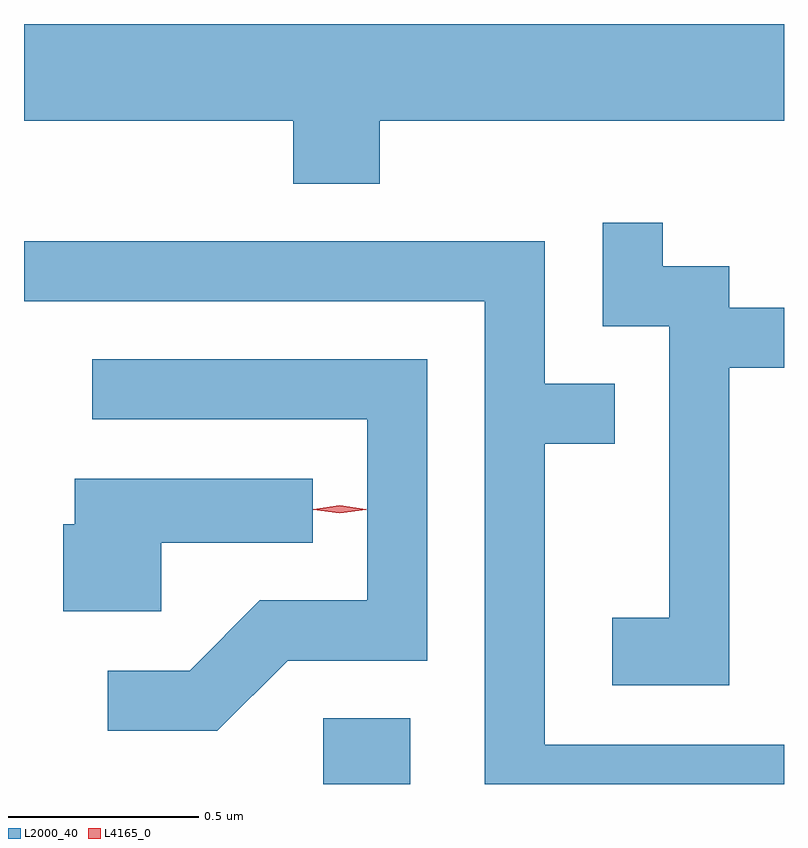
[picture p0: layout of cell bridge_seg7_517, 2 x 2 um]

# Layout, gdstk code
import gdstk
lib = gdstk.Library(unit=1e-6, precision=1e-09)
def R(c, l, rs):  # rectangles x0, y0, x1, y1
    for r in rs: c.add(gdstk.rectangle(r[:2], r[2:], *l))
def P(c, l, *ps):  # polygons
    for p in ps: c.add(gdstk.Polygon(p, *l))
L2000_40 = (2000, 40)
L4165_0 = (4165, 0)

bridge_seg7_517 = lib.new_cell('bridge_seg7_517')
R(bridge_seg7_517, L2000_40, [(1352.221,1694.811,1352.449,1694.984)])
P(bridge_seg7_517, L2000_40, [(1352.369,1696.556),(1353.433,1696.556),(1353.433,1696.811),(1351.433,1696.811),(1351.433,1696.556),(1352.141,1696.556),(1352.141,1696.391),(1352.369,1696.391)],
  [(1353.289,1695.906),(1353.433,1695.906),(1353.433,1696.064),(1353.289,1696.064),(1353.289,1696.174),(1353.114,1696.174),(1353.114,1696.288),(1352.956,1696.288),(1352.956,1696.016),(1353.131,1696.016),(1353.131,1695.249),(1352.981,1695.249),(1352.981,1695.071),(1353.289,1695.071)],
  [(1353.433,1694.914),(1352.804,1694.914),(1352.804,1695.706),(1352.988,1695.706),(1352.988,1695.864),(1352.804,1695.864),(1352.804,1696.239),(1351.433,1696.239),(1351.433,1696.081),(1352.646,1696.081),(1352.646,1694.811),(1353.433,1694.811)],
  [(1352.127,1695.136),(1352.494,1695.136),(1352.494,1695.929),(1351.613,1695.929),(1351.613,1695.771),(1352.336,1695.771),(1352.336,1695.294),(1352.054,1695.294),(1351.869,1695.109),(1351.653,1695.109),(1351.653,1694.951),(1351.942,1694.951)],
  [(1351.794,1695.446),(1352.193,1695.446),(1352.193,1695.614),(1351.566,1695.614),(1351.566,1695.494),(1351.536,1695.494),(1351.536,1695.266),(1351.794,1695.266)])
P(bridge_seg7_517, L4165_0, [(1352.264,1695.524),(1352.194,1695.533),(1352.194,1695.534),(1352.194,1695.534),(1352.264,1695.544),(1352.333,1695.534),(1352.333,1695.534),(1352.333,1695.533)],
  [(1352.264,1695.524),(1352.197,1695.533),(1352.197,1695.534),(1352.197,1695.534),(1352.264,1695.544),(1352.33,1695.534),(1352.331,1695.534),(1352.33,1695.533)])

lib.write_gds('bridge_seg7_517.gds')
